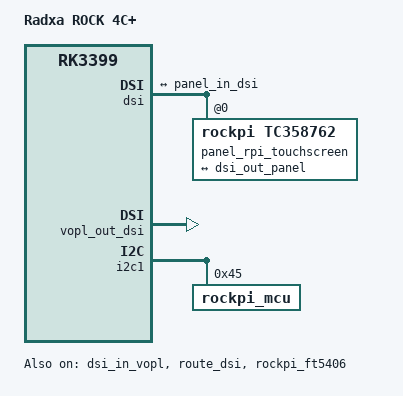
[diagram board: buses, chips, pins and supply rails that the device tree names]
/dts-v1/;
/plugin/;

/ {
	model = "Radxa ROCK 4C+";
	compatible = "radxa,rock-4c-plus", "rockchip,rk3399";

	fragment@0 {
		target = <&dsi>;

		__overlay__ {
			status = "okay";
			#address-cells = <1>;
			#size-cells = <0>;

			ports {
				#address-cells = <1>;
				#size-cells = <0>;
		
				port@1 {
					reg = <1>;
					dsi_out_panel: endpoint {
						remote-endpoint = <&panel_in_dsi>;
					};
				};
			};

			panel_rpi_touchscreen: panel-rpi-touchscreen@0 {
				compatible ="rockpi,tc358762";
				reg = <0>;
				status = "okay";
		
				ports {
					#address-cells = <1>;
					#size-cells = <0>;
		
					port@0 {
						reg = <0>;
						panel_in_dsi: endpoint {
							remote-endpoint = <&dsi_out_panel>;
						};
					};
				};
			};
		};
	};

	fragment@1 {
		target = <&vopl_out_dsi>;

		__overlay__ {
			status = "okay";
		};
	};

	fragment@2 {
		target = <&dsi_in_vopl>;

		__overlay__ {
			status = "okay";
		};
	};

	fragment@3 {
		target = <&route_dsi>;

		__overlay__ {
			status = "okay";
			connect = <&vopl_out_dsi>;
		};
	};

	fragment@4 {
		target = <&i2c1>;

		__overlay__ {
			status = "okay";
			i2c-scl-rising-time-ns = <300>;
			i2c-scl-falling-time-ns = <15>;
			#address-cells = <1>;
			#size-cells = <0>;

			rockpi_mcu: rockpi-mcu@45 {
				compatible = "rockpi_mcu";
				reg = <0x45>;
				status = "okay";
			};
		};
	};

	fragment@5 {
		target = <&rockpi_ft5406>;

		__overlay__ {
			status = "okay";
		};
	};

	fragment@6 {
		target = <&cdn_dp>;

		__overlay__ {
			status = "disabled";
		};
	};

	fragment@7 {
		target = <&tcphy0>;

		__overlay__ {
			status = "disabled";
		};
	};

	fragment@8 {
		target = <&dp_in_vopl>;

		__overlay__ {
			status = "disabled";
		};
	};

	fragment@9 {
		target = <&tcphy0_dp>;

		__overlay__ {
			status = "disabled";
		};
	};

	fragment@10 {
		target = <&tcphy0_usb3>;

		__overlay__ {
			status = "disabled";
		};
	};
};
